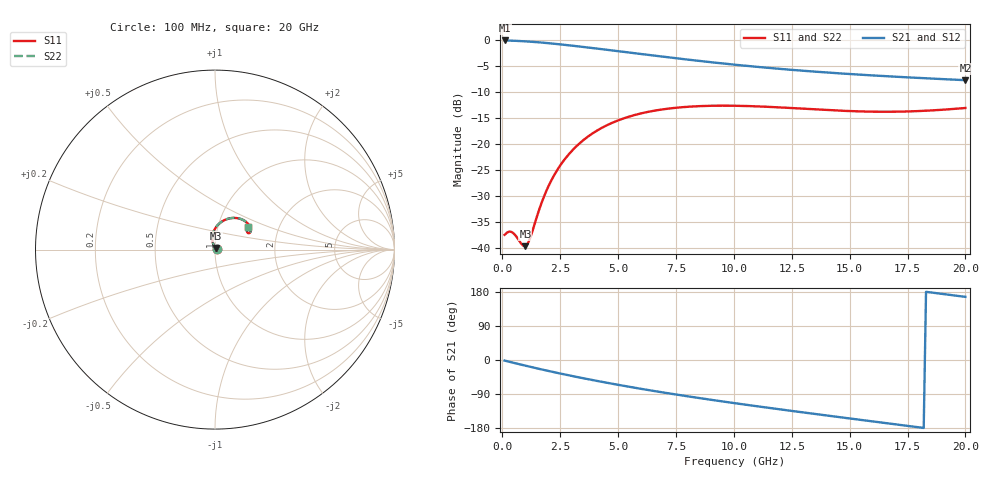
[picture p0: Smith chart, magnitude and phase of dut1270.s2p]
! Touchstone file exported from HFSS 2024.1.0
!  File:  C:/UserFiles/LocalFiles/RDL_TSV_Batchsim/temp_RDL_TSV_1270_1780274712.aedt
!  Generated:  08:58:39 AM Jun  1, 2026
!  Design:  RDL_TSV
!  Project:  temp_RDL_TSV_1270_1780274712
!  Setup:  Setup1
!  Solution:  Sweep
! Variables:
!  dtsv = 7.3um
!  hbump = 3um
!  htsv = 68.84um
!  ldown = 402.99um
!  lrdl = 434.39um
!  p = 40
!  p1 = 40.34um
!  rhole = 10um
!  subl = 2946.53um
!  t = 450um
!  tdown = 3.97um
!  trdl = 3.55um
!  viad = 10um
!  wdown = 22.03um
!  wrdl = 24.59um
!  xbump = 18um
# GHz S MA R 50.000000
! Terminal data exported
! Port[1] = TM1_1_T1
! Port[2] = TM1_4_T1
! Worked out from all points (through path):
!   200 points, 100 MHz to 20 GHz, reference 50 ohm
!   highest |S21| = -0.12 dB at 100 MHz (marker M1); lowest = -7.7 dB at 20 GHz (marker M2)
!   group delay of S21, straight-line fit = 25.6 ps
!   lowest |S11| = -39.6 dB at 1 GHz (marker M3), VSWR 1.02, Z = 50.6 + j0.869 ohm
!   |S11| at or under -10 dB: start of sweep to end of sweep
!   |S22| runs from -39.6 to -12.6 dB; largest |S21 - S12| = 9.3e-15
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0.1  0.01347 6.6  0.9863 -1.6  0.9863 -1.6  0.01347 6.6
! Gamma 0 0 0 0
! Port Impedance 50 0 50 0
0.3  0.0145 12.3  0.9833 -4.7  0.9833 -4.7  0.01449 12.3
0.4  0.01437 13.8  0.9816 -6.2  0.9816 -6.2  0.01437 13.8
0.9  0.01061 42.3  0.9703 -13.5  0.9703 -13.5  0.0106 42.3
1  0.01049 54.9  0.9674 -15.0  0.9674 -15.0  0.01048 55.0
1.1  0.0111 68.2  0.9642 -16.4  0.9642 -16.4  0.01109 68.3
1.2  0.0125 80.1  0.9609 -17.9  0.9609 -17.9  0.01249 80.2
1.7  0.02746 105.6  0.9417 -24.9  0.9417 -24.9  0.02748 105.7
1.9  0.03545 107.3  0.9331 -27.7  0.9331 -27.7  0.03549 107.3
2.2  0.0485 106.6  0.9193 -31.7  0.9193 -31.7  0.04855 106.7
2.8  0.07645 100.9  0.89 -39.5  0.89 -39.5  0.07654 100.9
3.5  0.1091 92.0  0.8546 -48.2  0.8546 -48.2  0.1092 92.1
4.2  0.1392 83.1  0.8189 -56.5  0.8189 -56.5  0.1394 83.1
4.9  0.1653 74.7  0.7839 -64.4  0.7839 -64.4  0.1656 74.7
5.8  0.1922 64.9  0.7405 -74.1  0.7405 -74.1  0.1925 64.9
6.8  0.2133 55.4  0.6954 -84.3  0.6954 -84.3  0.2137 55.5
8.4  0.2307 43.3  0.6316 -99.5  0.6316 -99.5  0.2311 43.3
10.1  0.2331 34.1  0.5757 -114.5  0.5757 -114.5  0.2337 34.1
11.7  0.2265 28.5  0.5332 -127.9  0.5332 -127.9  0.2272 28.6
13.4  0.2159 25.9  0.4972 -141.6  0.4972 -141.6  0.2167 25.9
16.7  0.2042 28.5  0.4463 -167.6  0.4463 -167.6  0.205 28.4
20  0.222 34.0  0.4103 166.6  0.4103 166.6  0.2226 33.8
